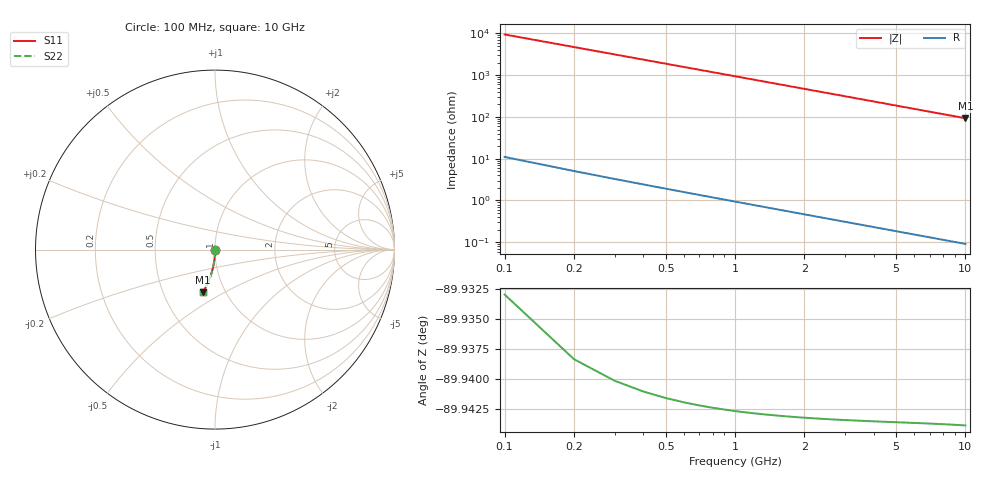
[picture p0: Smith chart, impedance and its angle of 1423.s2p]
# Hz S RI R 50.00
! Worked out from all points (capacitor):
!   100 points, 100 MHz to 10 GHz, reference 50 ohm
!   read as one part in shunt: C = 169 fF near 100 MHz
!   lowest |Z| = 93.1 ohm at 10 GHz (marker M1)
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1e8  1.95e-05 -0.00252  1 -0.00278  1 -0.00278  1.95e-05 -0.00252
2e8  -4.03e-06 -0.00505  0.9999 -0.00557  0.9999 -0.00557  -4.03e-06 -0.00505
3e8  -4.16e-05 -0.00757  0.9999 -0.00835  0.9999 -0.00835  -4.16e-05 -0.00757
4e8  -9.33e-05 -0.0101  0.9998 -0.0111  0.9998 -0.0111  -9.33e-05 -0.0101
5e8  -0.000159 -0.0126  0.9998 -0.0139  0.9998 -0.0139  -0.000159 -0.0126
6e8  -0.000239 -0.0151  0.9997 -0.0167  0.9997 -0.0167  -0.000239 -0.0151
7e8  -0.000333 -0.0177  0.9996 -0.0195  0.9996 -0.0195  -0.000333 -0.0177
8e8  -0.000441 -0.0202  0.9995 -0.0223  0.9995 -0.0223  -0.000441 -0.0202
9e8  -0.000563 -0.0227  0.9994 -0.0251  0.9994 -0.0251  -0.000563 -0.0227
1.1e9  -0.000849 -0.0278  0.9991 -0.0306  0.9991 -0.0306  -0.000849 -0.0278
1.4e9  -0.00138 -0.0353  0.9985 -0.039  0.9985 -0.039  -0.00138 -0.0353
1.8e9  -0.0023 -0.0454  0.9976 -0.0501  0.9976 -0.0501  -0.0023 -0.0454
2.1e9  -0.00313 -0.053  0.9968 -0.0584  0.9968 -0.0584  -0.00313 -0.053
2.5e9  -0.00443 -0.063  0.9955 -0.0695  0.9955 -0.0695  -0.00443 -0.063
2.9e9  -0.00596 -0.073  0.9939 -0.0805  0.9939 -0.0805  -0.00596 -0.073
3.4e9  -0.00819 -0.0855  0.9917 -0.0943  0.9917 -0.0943  -0.00819 -0.0855
4.2e9  -0.0125 -0.1052  0.9874 -0.1162  0.9874 -0.1162  -0.0125 -0.1052
5.1e9  -0.0183 -0.1272  0.9815 -0.1405  0.9815 -0.1405  -0.0183 -0.1272
5.9e9  -0.0244 -0.1464  0.9754 -0.1618  0.9754 -0.1618  -0.0244 -0.1464
6.7e9  -0.0313 -0.1652  0.9685 -0.1828  0.9685 -0.1828  -0.0313 -0.1652
8.4e9  -0.0486 -0.2037  0.9511 -0.2259  0.9511 -0.2259  -0.0486 -0.2037
1e10  -0.0677 -0.2379  0.9318 -0.2644  0.9318 -0.2644  -0.0677 -0.2379
